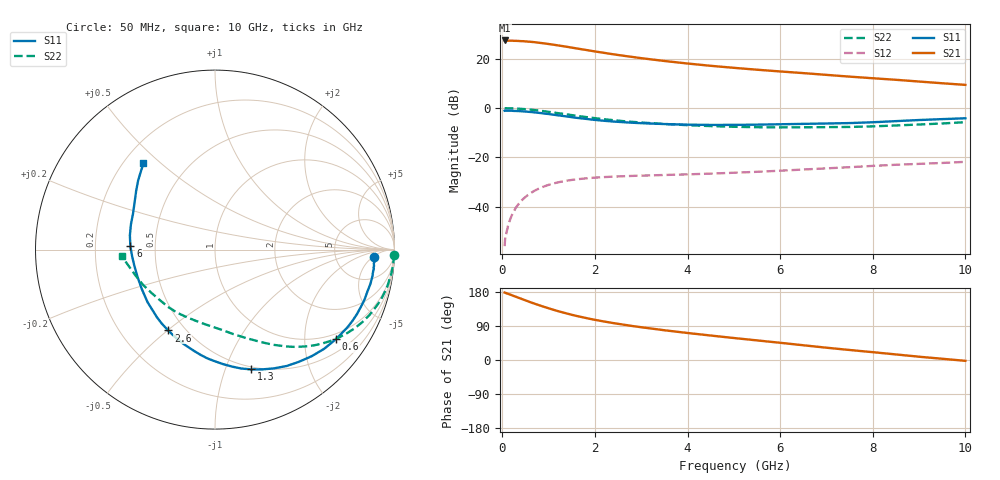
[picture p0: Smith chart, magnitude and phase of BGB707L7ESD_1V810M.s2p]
!  Infineon Technologies AG
!  BGB707L7ESD RU919007 w#7 Sample Build #08493 Teil Nr. 3
!  Vce = 1.8V, Ic = 10.0mA
!  DATUM: 30.06.2009 10:15:44
# GHz  S  MA  R  50
!f  S11  S21  S12  S22
!GHz  Mag  Ang  Mag  Ang  Mag  Ang  Mag  Ang
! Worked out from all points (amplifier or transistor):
!   52 points, 50 MHz to 10 GHz, reference 50 ohm
!   highest |S21| = 27.5 dB at 60 MHz (marker M1)
!   |S21| within 3 dB of that: start of sweep to 1.53 GHz
!   unconditionally stable (mu >= 1): 5.25 GHz to 9.841 GHz
!   at 130 MHz: K = 0.02, MSG = 37.4 dB, |S12| = -47.3 dB
!   at 1.4 GHz: K = 0.28, MSG = 27.1 dB, |S12| = -29.4 dB
!   at 10 GHz: K = 0.98, MSG = 15.6 dB, |S12| = -21.8 dB
!   lowest NFmin = 0.55 dB at 100 MHz
!   S11 on the Smith chart (normalised r, x): 50 MHz: 14, -6; 600 MHz: 0.84, -2.81; 1.3 GHz: 0.48, -1.23; 2.6 GHz: 0.41, -0.50; 6 GHz: 0.36, +0.02; 10 GHz: 0.28, +0.44
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0.05  0.8889 -2.8  23.25 178.0  0.001585 97.8  0.996 -1.6
0.06  0.8955 -4.1  23.68 177.5  0.002165 86.7  0.9968 -2.1
0.08  0.8882 -4.9  23.31 176.4  0.002645 86.9  0.997 -3.0
0.13  0.8894 -8.1  23.53 174.4  0.004313 85.3  0.9956 -5.0
0.3  0.8784 -18.5  23.25 166.7  0.009795 79.9  0.9828 -11.6
0.45  0.8623 -27.6  22.9 159.6  0.01438 74.4  0.963 -17.3
0.6  0.8387 -36.5  22.27 152.9  0.01865 69.8  0.9357 -22.7
0.7  0.8218 -42.3  21.84 148.5  0.02124 66.6  0.915 -26.2
0.9  0.7808 -53.2  20.66 140.3  0.0258 60.9  0.8684 -32.6
1.1  0.7392 -63.5  19.47 132.7  0.02959 55.7  0.819 -38.5
1.3  0.6974 -73.1  18.21 125.8  0.0326 51.5  0.7704 -43.7
1.6  0.6387 -86.2  16.33 116.4  0.03598 46.2  0.7025 -50.5
1.8  0.6078 -94.0  15.24 111.0  0.0376 43.4  0.6626 -54.3
2.2  0.5551 -108.1  13.27 101.6  0.04001 39.5  0.5967 -61.1
2.6  0.5206 -120.0  11.65 93.6  0.04158 37.0  0.5479 -66.9
3.5  0.4765 -142.1  9.077 78.5  0.04411 35.0  0.4783 -78.5
4.5  0.4577 -160.4  7.249 64.6  0.04705 36.1  0.4331 -90.6
5.5  0.4634 -175.6  6.038 51.7  0.0512 38.1  0.4111 -104.9
6  0.4717 177.8  5.567 45.4  0.05388 39.1  0.4081 -112.5
7  0.489 163.3  4.745 32.5  0.06014 39.8  0.4125 -129.1
8.5  0.5463 143.6  3.768 14.7  0.07111 38.7  0.4463 -153.9
10  0.6247 129.7  2.97 -2.2  0.0815 36.2  0.5207 -175.8
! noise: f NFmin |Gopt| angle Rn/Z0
0.1  0.55  0.46  2  0.18
0.45  0.69  0.46  4  0.18
0.9  0.73  0.47  12  0.18
1.8  0.75  0.4  33  0.17
5  0.97  0.31  70  0.16
10  1.48  0.39  -123  0.14
